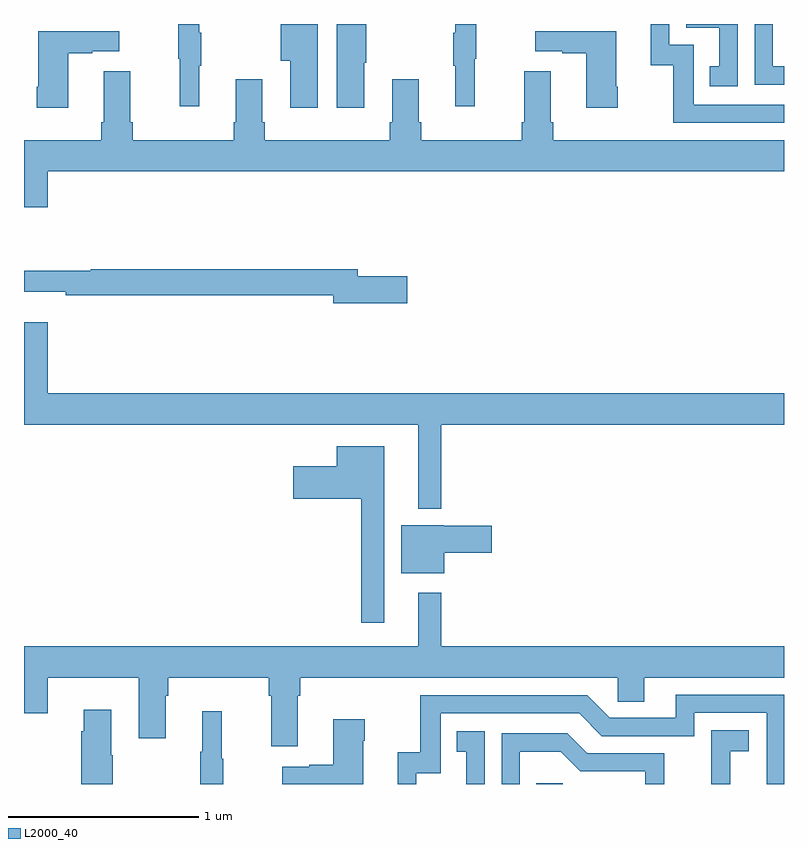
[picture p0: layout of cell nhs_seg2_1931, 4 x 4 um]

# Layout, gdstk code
import gdstk
lib = gdstk.Library(unit=1e-6, precision=1e-09)
def R(c, l, rs):  # rectangles x0, y0, x1, y1
    for r in rs: c.add(gdstk.rectangle(r[:2], r[2:], *l))
def P(c, l, *ps):  # polygons
    for p in ps: c.add(gdstk.Polygon(p, *l))
L2000_40 = (2000, 40)

nhs_seg2_1931 = lib.new_cell('nhs_seg2_1931')
R(nhs_seg2_1931, L2000_40, [(215.695,589.8,215.835,589.803)])
P(nhs_seg2_1931, L2000_40, [(213.923,593.579),(213.934,593.579),(213.934,593.753),(213.923,593.753),(213.923,593.8),(213.813,593.8),(213.813,593.616),(213.82,593.616),(213.82,593.367),(213.923,593.367)],
  [(215.372,593.616),(215.38,593.616),(215.38,593.8),(215.27,593.8),(215.27,593.753),(215.259,593.753),(215.259,593.579),(215.27,593.579),(215.27,593.367),(215.372,593.367)],
  [(217,593.376),(216.525,593.376),(216.525,593.691),(216.396,593.691),(216.396,593.8),(216.299,593.8),(216.299,593.583),(216.417,593.583),(216.417,593.28),(217,593.28)],
  [(214.792,593.596),(214.8,593.596),(214.8,593.8),(214.646,593.8),(214.646,593.358),(214.792,593.358)],
  [(214.546,593.8),(214.352,593.8),(214.352,593.606),(214.4,593.606),(214.4,593.358),(214.546,593.358)],
  [(216.756,593.8),(216.486,593.8),(216.486,593.781),(216.659,593.781),(216.659,593.577),(216.61,593.577),(216.61,593.472),(216.756,593.472)],
  [(217,593.578),(216.942,593.578),(216.942,593.8),(216.846,593.8),(216.846,593.481),(217,593.481)],
  [(213.232,593.647),(213.359,593.647),(213.359,593.657),(213.502,593.657),(213.502,593.761),(213.074,593.761),(213.074,593.47),(213.067,593.47),(213.067,593.358),(213.232,593.358)],
  [(216.126,593.47),(216.118,593.47),(216.118,593.761),(215.691,593.761),(215.691,593.657),(215.834,593.657),(215.834,593.647),(215.96,593.647),(215.96,593.358),(216.126,593.358)],
  [(213.124,593.024),(217,593.024),(217,593.188),(215.786,593.188),(215.786,593.284),(215.773,593.284),(215.773,593.551),(215.633,593.551),(215.633,593.284),(215.621,593.284),(215.621,593.188),(215.09,593.188),(215.09,593.284),(215.077,593.284),(215.077,593.509),(214.937,593.509),(214.937,593.284),(214.925,593.284),(214.925,593.188),(214.268,593.188),(214.268,593.284),(214.255,593.284),(214.255,593.509),(214.115,593.509),(214.115,593.284),(214.103,593.284),(214.103,593.188),(213.572,593.188),(213.572,593.284),(213.559,593.284),(213.559,593.551),(213.419,593.551),(213.419,593.284),(213.407,593.284),(213.407,593.188),(213,593.188),(213,592.836),(213.124,592.836)],
  [(215.017,592.472),(214.756,592.472),(214.756,592.508),(213.352,592.508),(213.352,592.501),(213,592.501),(213,592.391),(213.22,592.391),(213.22,592.372),(214.628,592.372),(214.628,592.33),(215.017,592.33)],
  [(215.197,591.692),(217,591.692),(217,591.856),(213.124,591.856),(213.124,592.231),(213,592.231),(213,591.692),(215.075,591.692),(215.075,591.248),(215.197,591.248)],
  [(214.897,591.577),(214.646,591.577),(214.646,591.472),(214.416,591.472),(214.416,591.302),(214.776,591.302),(214.776,590.649),(214.897,590.649)],
  [(215.212,591.016),(215.461,591.016),(215.461,591.158),(215.208,591.158),(215.208,591.163),(214.985,591.163),(214.985,590.909),(215.212,590.909)],
  [(215.197,590.806),(215.075,590.806),(215.075,590.524),(213,590.524),(213,590.172),(213.124,590.172),(213.124,590.36),(213.605,590.36),(213.605,590.04),(213.745,590.04),(213.745,590.264),(213.758,590.264),(213.758,590.36),(214.289,590.36),(214.289,590.264),(214.301,590.264),(214.301,589.998),(214.441,589.998),(214.441,590.264),(214.454,590.264),(214.454,590.36),(216.126,590.36),(216.126,590.233),(216.265,590.233),(216.265,590.36),(217,590.36),(217,590.524),(215.197,590.524)],
  [(215.064,589.857),(215.193,589.857),(215.193,590.172),(215.922,590.172),(216.042,590.052),(216.528,590.052),(216.528,590.175),(216.909,590.175),(216.909,589.8),(217,589.8),(217,590.271),(216.431,590.271),(216.431,590.148),(216.084,590.148),(215.964,590.268),(215.085,590.268),(215.085,589.966),(214.967,589.966),(214.967,589.8),(215.064,589.8)],
  [(213.468,589.952),(213.46,589.952),(213.46,590.191),(213.314,590.191),(213.314,590.078),(213.302,590.078),(213.302,589.8),(213.468,589.8)],
  [(214.048,589.932),(214.04,589.932),(214.04,590.182),(213.938,590.182),(213.938,589.969),(213.927,589.969),(213.927,589.8),(214.048,589.8)],
  [(214.786,590.027),(214.794,590.027),(214.794,590.14),(214.628,590.14),(214.628,589.901),(214.502,589.901),(214.502,589.891),(214.359,589.891),(214.359,589.8),(214.786,589.8)],
  [(216.716,589.973),(216.814,589.973),(216.814,590.083),(216.616,590.083),(216.616,589.877),(216.617,589.877),(216.617,589.8),(216.716,589.8)],
  [(215.424,590.077),(215.278,590.077),(215.278,589.971),(215.327,589.971),(215.327,589.8),(215.424,589.8)],
  [(215.61,589.97),(215.824,589.97),(215.928,589.866),(216.27,589.866),(216.27,589.8),(216.369,589.8),(216.369,589.962),(215.965,589.962),(215.86,590.067),(215.514,590.067),(215.514,589.8),(215.61,589.8)])

lib.write_gds('nhs_seg2_1931.gds')
